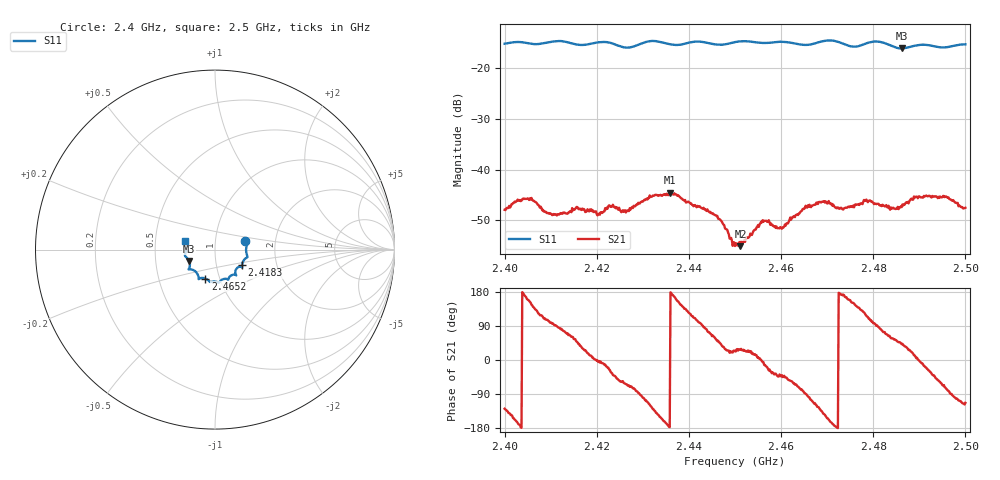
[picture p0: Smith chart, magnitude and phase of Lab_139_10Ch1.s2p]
# Hz S RI R 50
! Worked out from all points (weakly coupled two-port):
!   601 points, 2.4 GHz to 2.5 GHz, reference 50 ohm
!   highest |S21| = -44.56 dB at 2.4358 GHz (marker M1); lowest = -55.1 dB at 2.4512 GHz (marker M2)
!   lowest |S11| = -16.1 dB at 2.4862 GHz (marker M3), VSWR 1.37, Z = 37.2 - j4.88 ohm
!   |S11| at or under -10 dB: start of sweep to end of sweep
!   S12 and S22 are empty: the file has one direction only
!   S11 on the Smith chart (normalised r, x): 2.4 GHz: 1.40, +0.13; 2.4183 GHz: 1.33, -0.24; 2.4652 GHz: 0.85, -0.28; 2.5 GHz: 0.71, +0.07
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2.4e9  0.1684 0.0468  -0.00249 -0.00313  0 0  0 0
2.4045e9  0.177 0.0228  -0.00501 0.00107  0 0  0 0
2.410833e9  0.1807 -0.0374  -0.000107 0.00359  0 0  0 0
2.416667e9  0.1556 -0.0682  0.00329 0.00224  0 0  0 0
2.418333e9  0.1501 -0.0865  0.00375 0.000932  0 0  0 0
2.4265e9  0.122 -0.1035  0.0017 -0.00352  0 0  0 0
2.433333e9  0.117 -0.1415  -0.0045 -0.00316  0 0  0 0
2.435833e9  0.1021 -0.1394  -0.00591 -0.000265  0 0  0 0
2.445667e9  0.057 -0.1626  0.00188 0.00301  0 0  0 0
2.45e9  0.0258 -0.1795  0.00162 0.000688  0 0  0 0
2.451167e9  0.0227 -0.1833  0.00156 0.000805  0 0  0 0
2.456e9  -0.000302 -0.1778  0.00315 -0.000299  0 0  0 0
2.460167e9  -0.0274 -0.1805  0.00199 -0.00167  0 0  0 0
2.465167e9  -0.0545 -0.1611  0.000207 -0.00419  0 0  0 0
2.466667e9  -0.0707 -0.1577  -0.0013 -0.0042  0 0  0 0
2.469333e9  -0.0895 -0.1632  -0.00389 -0.00294  0 0  0 0
2.473667e9  -0.0935 -0.1458  -0.00409 0.000629  0 0  0 0
2.4785e9  -0.1375 -0.1101  -0.00228 0.00451  0 0  0 0
2.483333e9  -0.1413 -0.0966  0.00199 0.00392  0 0  0 0
2.486167e9  -0.1432 -0.064  0.00317 0.00283  0 0  0 0
2.491833e9  -0.1671 -0.0286  0.00495 -0.00227  0 0  0 0
2.5e9  -0.1658 0.0473  -0.00165 -0.00386  0 0  0 0
